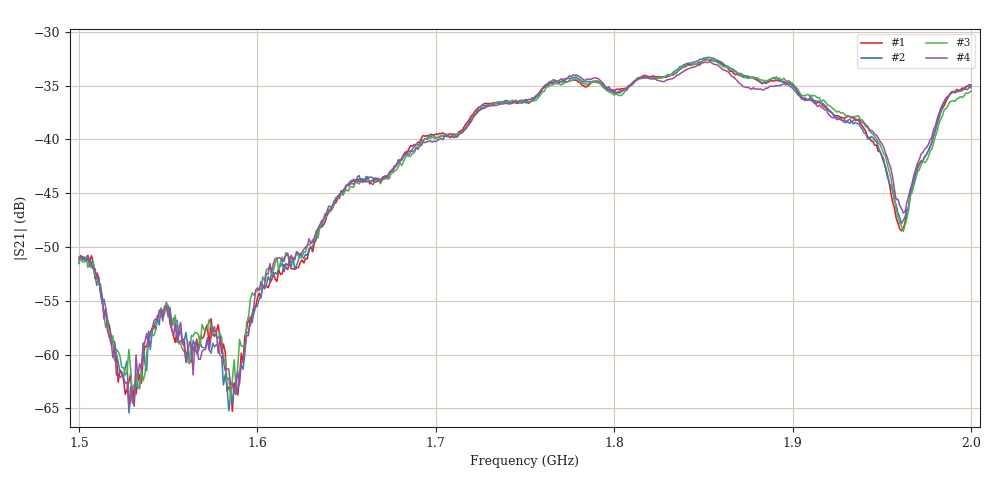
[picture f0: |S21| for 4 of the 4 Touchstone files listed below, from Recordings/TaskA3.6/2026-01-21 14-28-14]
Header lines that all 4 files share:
! NanoVNA-App by SYSJOINT et al v1.1.209 (+OD18)
! Start: 1,5GHz Stop: 2GHz Points: 501
! S-Parameter data: F S11 S21 S12 S22
# Hz S RI R 50
!  Frequency  S11_Real  S11_Imag  S21_Real  S21_Imag  S12_Real  S12_Imag  S22_Real  S22_Imag
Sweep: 1.5 GHz to 2 GHz
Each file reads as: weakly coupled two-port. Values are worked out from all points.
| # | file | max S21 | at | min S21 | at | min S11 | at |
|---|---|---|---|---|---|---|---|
| 1 | 0.s2p | -32.58 dB | 1.852 GHz | -65.3 dB | 1.586 GHz | -31.0 dB | 1.816 GHz |
| 2 | 1.s2p | -32.35 dB | 1.853 GHz | -65.4 dB | 1.528 GHz | -30.9 dB | 1.816 GHz |
| 3 | 2.s2p | -32.50 dB | 1.852 GHz | -64.5 dB | 1.531 GHz | -30.7 dB | 1.817 GHz |
| 4 | 3.s2p | -32.76 dB | 1.854 GHz | -64.9 dB | 1.528 GHz | -31.2 dB | 1.816 GHz |
